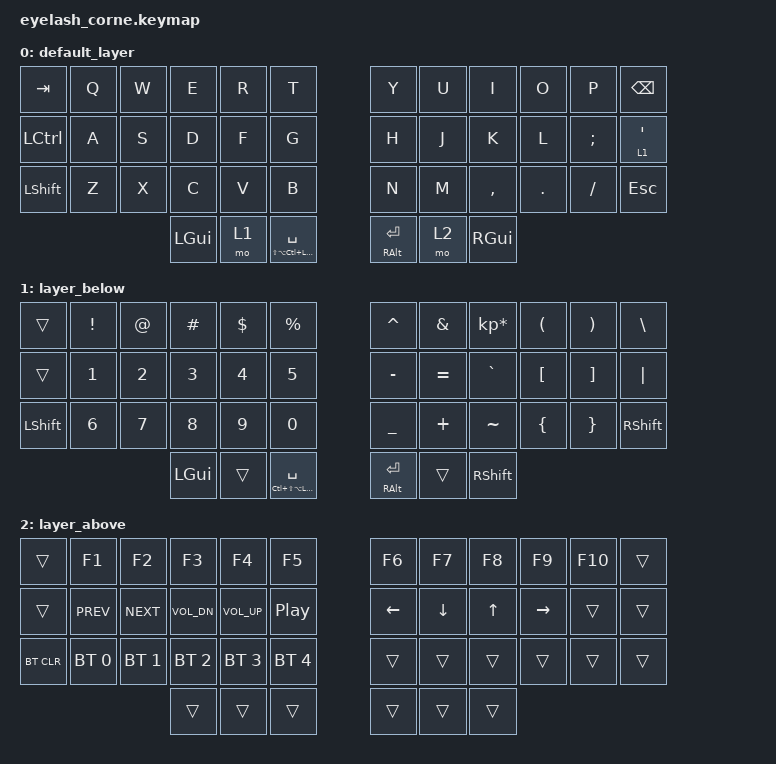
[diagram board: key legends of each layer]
#include <dt-bindings/zmk/mouse.h>
#include <input/processors.dtsi>
#include <behaviors.dtsi>
#include <dt-bindings/zmk/bt.h>
#include <dt-bindings/zmk/keys.h>
#include <dt-bindings/zmk/outputs.h>
#include <dt-bindings/zmk/pointing.h>
#include <dt-bindings/zmk/rgb.h>

/*

   &mmv_input_listener {
       input-processors = <&zip_xy_scaler 2 1>;
   };

   &msc_input_listener {
       input-processors = <&zip_xy_scaler 2 1>;
   };

 */

#define ZMK_MOUSE_DEFAULT_MOVE_VAL 1200  // 600
#define ZMK_MOUSE_DEFAULT_SCRL_VAL 20    // 10

/ {
    behaviors {
        tp: tap_preferred {
            compatible = "zmk,behavior-hold-tap";
            label = "TAP_PREFERRED";
            #binding-cells = <2>;
            tapping-term-ms = <150>;
            quick-tap-ms = <0>;
            flavor = "tap-preferred";
            bindings = <&kp>, <&kp>;
        };
    };

    rgb_encoder: rgb_encoder {
        compatible = "zmk,behavior-sensor-rotate";
        #sensor-binding-cells = <0>;
        bindings = <&rgb_ug RGB_BRI>, <&rgb_ug RGB_BRD>;
    };

    scroll_encoder: scroll_encoder {
        compatible = "zmk,behavior-sensor-rotate";
        #sensor-binding-cells = <0>;
        bindings = <&msc SCRL_DOWN>, <&msc SCRL_UP>;

        tap-ms = <30>;
    };

    keymap {
        compatible = "zmk,keymap";

        default_layer {
            // -----------------------------------------------------------------------------------------
            // | TAB  |  Q  |  W  |  E  |  R  |    T    |   |  Y  |  U   |  I  |  O  |  P  | BSPC |
            // | CTRL |  A  |  S  |  D  |  F  |    G    |   |  H  |  J   |  K  |  L  |  ;  |  LWR/'   |
            // | SHFT |  Z  |  X  |  C  |  V  |    B    |   |  N  |  M   |  ,  |  .  |  /  | ESC |
            //                    | GUI | LWR | ALT/ENT |   | HYPER/SPC | BKSP  | RSE |

            bindings = <
&kp TAB    &kp Q  &kp W  &kp E     &kp R  &kp T                             &kp Y                &kp U  &kp I          &kp O    &kp P     &kp BACKSPACE
&kp LCTRL  &kp A  &kp S  &kp D     &kp F  &kp G                             &kp H                &kp J  &kp K          &kp L    &kp SEMI  &lt 1 SQT
&kp LSHFT  &kp Z  &kp X  &kp C     &kp V  &kp B                             &kp N                &kp M  &kp COMMA      &kp DOT  &kp FSLH  &kp ESC
                         &kp LGUI  &mo 1  &tp LS(LA(LC(LEFT_GUI))) SPACE    &tp RIGHT_ALT ENTER  &mo 2  &kp RIGHT_GUI
            >;
        };

        layer_below {
            // -----------------------------------------------------------------------------------------
            // |      |  !  |  @  |  #  |  $  |    %     |   |  ^  |  &  |  *  |  (  |  )  |   \   |
            // |      |  1  |  2  |  3  |  4  |    5     |   |  -  |  =  |  `  |  [  |  ]  |  "|"  |
            // | SHFT |  6  |  7  |  8  |  9  |    0     |   |  _  |  +  |  ~  |  {  |  }  | RSHFT |
            //                     | GUI |     | ALT/ENT |   | HYPER/SPACE | BKSP |    |

            bindings = <
&trans     &kp EXCL  &kp AT  &kp HASH  &kp DLLR  &kp PRCNT                     &kp CARET     &kp AMPS   &kp KP_MULTIPLY  &kp LPAR  &kp RPAR  &kp BSLH
&trans     &kp N1    &kp N2  &kp N3    &kp N4    &kp N5                        &kp MINUS     &kp EQUAL  &kp GRAVE        &kp LBKT  &kp RBKT  &kp PIPE
&kp LSHFT  &kp N6    &kp N7  &kp N8    &kp N9    &kp N0                        &kp UNDER     &kp PLUS   &kp TILDE        &kp LBRC  &kp RBRC  &kp RSHFT
                             &kp LGUI  &trans    &tp LC(LS(LA(LGUI))) SPACE    &tp RALT RET  &trans     &kp RSHFT
            >;
        };

        layer_above {
            // -----------------------------------------------------------------------------------------
            // |       |  F1  |  F2  |  F3  |  F4  |  F5 |            |  F6  |  F7  |  F8  |  F9  |  F10  |   |
            // |       | Prev | Next | Vol - | Vol + | Play/Pause |   |      | LFT | DWN |  UP | RGT |     |     |
            // | BTCLR | BT1 | BT2 | BT3 | BT4 | BT5 |   |            |     |     |     |     |     |     |
            //                    |     |     |    |                  |     |     |     |

            bindings = <
&trans      &kp F1        &kp F2        &kp F3        &kp F4        &kp F5          &kp F6    &kp F7    &kp F8  &kp F9     &kp F10  &trans
&trans      &kp C_PREV    &kp C_NEXT    &kp C_VOL_DN  &kp C_VOL_UP  &kp C_PP        &kp LEFT  &kp DOWN  &kp UP  &kp RIGHT  &trans   &trans
&bt BT_CLR  &bt BT_SEL 0  &bt BT_SEL 1  &bt BT_SEL 2  &bt BT_SEL 3  &bt BT_SEL 4    &trans    &trans    &trans  &trans     &trans   &trans
                                        &trans        &trans        &trans          &trans    &trans    &trans
            >;
        };
    };
};
